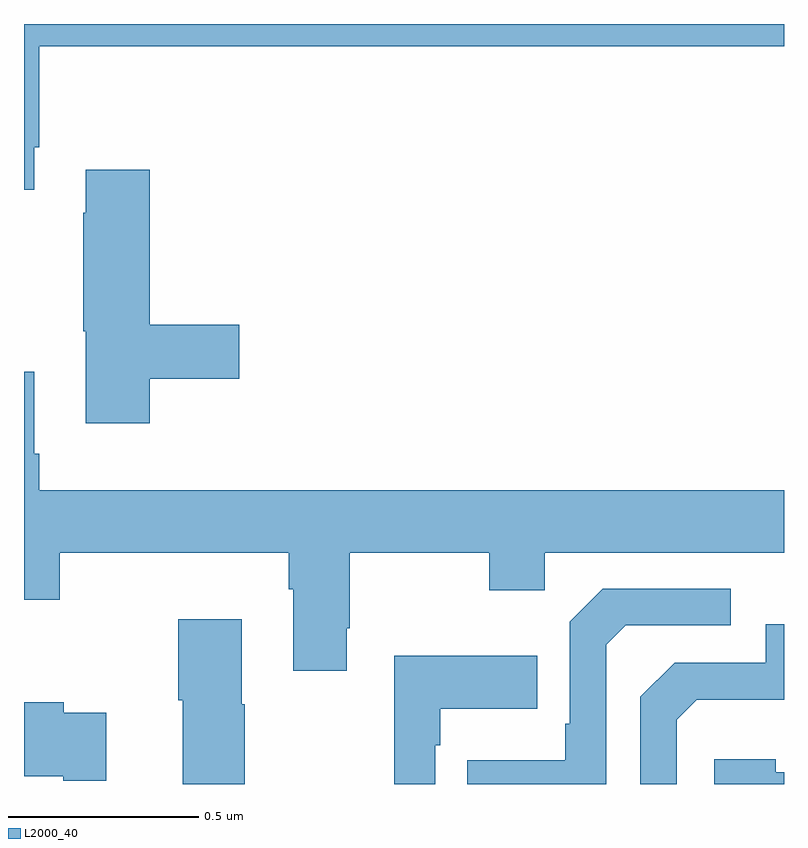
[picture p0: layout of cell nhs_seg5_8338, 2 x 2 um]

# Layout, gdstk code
import gdstk
lib = gdstk.Library(unit=1e-6, precision=1e-09)
def P(c, l, *ps):  # polygons
    for p in ps: c.add(gdstk.Polygon(p, *l))
L2000_40 = (2000, 40)

nhs_seg5_8338 = lib.new_cell('nhs_seg5_8338')
P(nhs_seg5_8338, L2000_40, [(220.027,876.475),(220.04,876.475),(220.04,876.74),(222,876.74),(222,876.799),(220,876.799),(220,876.363),(220.027,876.363)],
  [(220.331,875.866),(220.567,875.866),(220.567,876.008),(220.331,876.008),(220.331,876.415),(220.163,876.415),(220.163,876.302),(220.156,876.302),(220.156,875.991),(220.163,875.991),(220.163,875.748),(220.331,875.748)],
  [(220.04,875.668),(220.027,875.668),(220.027,875.884),(220,875.884),(220,875.284),(220.094,875.284),(220.094,875.408),(220.697,875.408),(220.697,875.312),(220.709,875.312),(220.709,875.097),(220.849,875.097),(220.849,875.209),(220.857,875.209),(220.857,875.408),(221.224,875.408),(221.224,875.309),(221.37,875.309),(221.37,875.408),(222,875.408),(222,875.572),(220.04,875.572)],
  [(221.532,875.166),(221.583,875.217),(221.86,875.217),(221.86,875.313),(221.523,875.313),(221.436,875.226),(221.436,874.957),(221.424,874.957),(221.424,874.861),(221.167,874.861),(221.167,874.799),(221.532,874.799)],
  [(220.581,875.009),(220.573,875.009),(220.573,875.233),(220.406,875.233),(220.406,875.02),(220.418,875.02),(220.418,874.799),(220.581,874.799)],
  [(221.718,874.968),(221.771,875.021),(222,875.021),(222,875.22),(221.952,875.22),(221.952,875.118),(221.712,875.118),(221.622,875.028),(221.622,874.799),(221.718,874.799)],
  [(221.082,874.901),(221.095,874.901),(221.095,874.997),(221.351,874.997),(221.351,875.137),(220.974,875.137),(220.974,874.799),(221.082,874.799)],
  [(220.216,874.986),(220.104,874.986),(220.104,875.014),(220,875.014),(220,874.82),(220.103,874.82),(220.103,874.808),(220.216,874.808)],
  [(222,874.83),(221.978,874.83),(221.978,874.864),(221.817,874.864),(221.817,874.799),(222,874.799)])

lib.write_gds('nhs_seg5_8338.gds')
